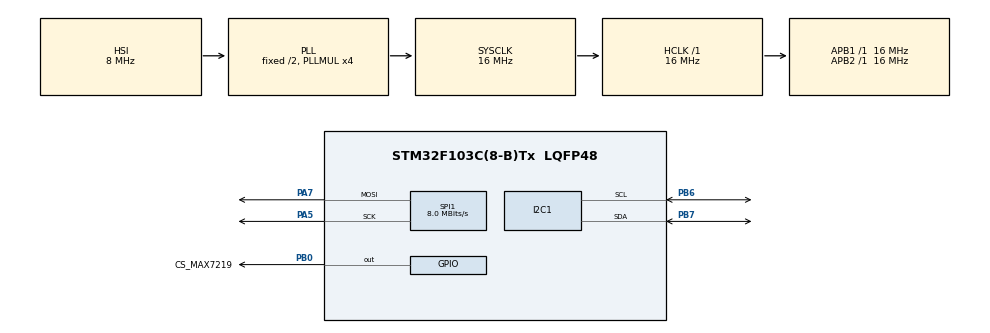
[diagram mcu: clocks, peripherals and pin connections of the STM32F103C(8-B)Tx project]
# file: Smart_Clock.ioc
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Mcu.Family=STM32F1
Mcu.Name=STM32F103C(8-B)Tx
Mcu.Package=LQFP48
NVIC.PriorityGroup=NVIC_PRIORITYGROUP_4
PA13.Mode=Serial_Wire
PA13.Signal=SYS_JTMS-SWDIO
PA14.Mode=Serial_Wire
PA14.Signal=SYS_JTCK-SWCLK
PA5.Mode=TX_Only_Simplex_Unidirect_Master
PA5.Signal=SPI1_SCK
PA7.Mode=TX_Only_Simplex_Unidirect_Master
PA7.Signal=SPI1_MOSI
PB0.GPIO_Label=CS_MAX7219
PB0.Signal=GPIO_Output
PB6.Mode=I2C
PB6.Signal=I2C1_SCL
PB7.Mode=I2C
PB7.Signal=I2C1_SDA
PD0-OSC_IN.Mode=HSE-External-Oscillator
PD0-OSC_IN.Signal=RCC_OSC_IN
PD1-OSC_OUT.Mode=HSE-External-Oscillator
PD1-OSC_OUT.Signal=RCC_OSC_OUT
ProjectManager.HeapSize=0x200
ProjectManager.StackSize=0x400
ProjectManager.TargetToolchain=MDK-ARM V5.32
RCC.AHBFreq_Value=16000000
RCC.APB1Freq_Value=16000000
RCC.APB1TimFreq_Value=16000000
RCC.APB2Freq_Value=16000000
RCC.APB2TimFreq_Value=16000000
RCC.HCLKFreq_Value=16000000
RCC.PLLMUL=RCC_PLL_MUL4
RCC.SYSCLKFreq_VALUE=16000000
RCC.SYSCLKSource=RCC_SYSCLKSOURCE_PLLCLK
RCC.USBFreq_Value=16000000
SPI1.BaudRatePrescaler=SPI_BAUDRATEPRESCALER_2
SPI1.CalculateBaudRate=8.0 MBits/s
SPI1.DataSize=SPI_DATASIZE_8BIT
SPI1.Direction=SPI_DIRECTION_2LINES
SPI1.Mode=SPI_MODE_MASTER
SPI1.VirtualType=VM_MASTER
board=custom

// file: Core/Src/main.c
/* USER CODE BEGIN Header */
/**
  ******************************************************************************
  * @file           : main.c
  * @brief          : Main program body
  ******************************************************************************
  * @attention
  *
  * Copyright (c) 2024 STMicroelectronics.
  * All rights reserved.
  *
  * This software is licensed under terms that can be found in the LICENSE file
  * in the root directory of this software component.
  * If no LICENSE file comes with this software, it is provided AS-IS.
  *
  ******************************************************************************
  */
/* USER CODE END Header */
#include "main.h"
#include "max7219.h"
#include "ds3231_for_stm32_hal.h"
#include "stdio.h"

I2C_HandleTypeDef hi2c1;

SPI_HandleTypeDef hspi1;

void SystemClock_Config(void);
static void MX_GPIO_Init(void);
static void MX_I2C1_Init(void);
static void MX_SPI1_Init(void);

/* USER CODE BEGIN 0 */
//void printr(uint8_t reg) {
//	printf("Reg 0x%02x = ", reg);
//	uint8_t val;
//	HAL_I2C_Master_Transmit(_ds3231_ui2c, DS3231_I2C_ADDR << 1, &reg, 1,
//			DS3231_TIMEOUT);
//	HAL_StatusTypeDef s = HAL_I2C_Master_Receive(_ds3231_ui2c,
//			DS3231_I2C_ADDR << 1, &val, 1, DS3231_TIMEOUT);
//	for (int i = 0; i < 8; i++) {
//		printf("%d", (val >> (7 - i)) & 1);
//	}
//	printf(" With status %d", s);
//	printf("\n");
//}
/* USER CODE END 0 */

int main(void)
{

  /* MCU Configuration--------------------------------------------------------*/

  /* Reset of all peripherals, Initializes the Flash interface and the Systick. */
  HAL_Init();

  /* Configure the system clock */
  SystemClock_Config();

  /* Initialize all configured peripherals */
  MX_GPIO_Init();
  MX_I2C1_Init();
  MX_SPI1_Init();
  /* USER CODE BEGIN 2 */

	max7219_Init(7);
  max7219_Decode_On();
		//DS3231 init function. Pass I2C handle.
	DS3231_Init(&hi2c1);
//	//Disable interrupts while we set interrupt configs.
//	__disable_irq();
//	//Set interrupt mode to square wave mode, enable square wave interrupt at pin 3.
//	DS3231_SetInterruptMode(DS3231_SQUARE_WAVE_INTERRUPT);
//	//Set interrupting frequency to 1 Hz.
//	DS3231_SetRateSelect(DS3231_1HZ);
	//Set time.
//	DS3231_SetFullTime(15, 49, 30);
	//Set date.
//	DS3231_SetFullDate(28, 7, 8, 2024);
	//Print all register values, for demonstration purpose

	//Enable interrupts after finishing.
//	__enable_irq();
  /* USER CODE END 2 */

  /* Infinite loop */
  while (1)
  {

    /* USER CODE BEGIN 3 */
	 max7219_Clean();
	 max7219_PrintNtos(DIGIT_5, DS3231_GetTemperatureFraction(), 2);
	 max7219_PrintNtos(DIGIT_8, DS3231_GetTemperatureInteger(), 2);
   HAL_Delay(2000);
	 max7219_Clean();
	 max7219_PrintNtos(DIGIT_5, DS3231_GetMinute(), 2);
	 max7219_PrintNtos(DIGIT_8, DS3231_GetHour(), 2);
		max7219_PrintNtos(DIGIT_2, DS3231_GetSecond(), 2);
   HAL_Delay(2000);
		max7219_Clean();
	 max7219_PrintNtos(DIGIT_5, DS3231_GetMonth(), 2);
	 max7219_PrintNtos(DIGIT_8, DS3231_GetDate(), 2);
		max7219_PrintNtos(DIGIT_2, DS3231_GetYear(), 2);
   HAL_Delay(2000);
  }
  /* USER CODE END 3 */
}

void SystemClock_Config(void)
{
  RCC_OscInitTypeDef RCC_OscInitStruct = {0};
  RCC_ClkInitTypeDef RCC_ClkInitStruct = {0};

  /** Initializes the RCC Oscillators according to the specified parameters
  * in the RCC_OscInitTypeDef structure.
  */
  RCC_OscInitStruct.OscillatorType = RCC_OSCILLATORTYPE_HSI;
  RCC_OscInitStruct.HSIState = RCC_HSI_ON;
  RCC_OscInitStruct.HSICalibrationValue = RCC_HSICALIBRATION_DEFAULT;
  RCC_OscInitStruct.PLL.PLLState = RCC_PLL_ON;
  RCC_OscInitStruct.PLL.PLLSource = RCC_PLLSOURCE_HSI_DIV2;
  RCC_OscInitStruct.PLL.PLLMUL = RCC_PLL_MUL4;
  if (HAL_RCC_OscConfig(&RCC_OscInitStruct) != HAL_OK)
  {
    Error_Handler();
  }

  /** Initializes the CPU, AHB and APB buses clocks
  */
  RCC_ClkInitStruct.ClockType = RCC_CLOCKTYPE_HCLK|RCC_CLOCKTYPE_SYSCLK
                              |RCC_CLOCKTYPE_PCLK1|RCC_CLOCKTYPE_PCLK2;
  RCC_ClkInitStruct.SYSCLKSource = RCC_SYSCLKSOURCE_PLLCLK;
  RCC_ClkInitStruct.AHBCLKDivider = RCC_SYSCLK_DIV1;
  RCC_ClkInitStruct.APB1CLKDivider = RCC_HCLK_DIV1;
  RCC_ClkInitStruct.APB2CLKDivider = RCC_HCLK_DIV1;

  if (HAL_RCC_ClockConfig(&RCC_ClkInitStruct, FLASH_LATENCY_0) != HAL_OK)
  {
    Error_Handler();
  }
}

static void MX_I2C1_Init(void)
{

  hi2c1.Instance = I2C1;
  hi2c1.Init.ClockSpeed = 100000;
  hi2c1.Init.DutyCycle = I2C_DUTYCYCLE_2;
  hi2c1.Init.OwnAddress1 = 0;
  hi2c1.Init.AddressingMode = I2C_ADDRESSINGMODE_7BIT;
  hi2c1.Init.DualAddressMode = I2C_DUALADDRESS_DISABLE;
  hi2c1.Init.OwnAddress2 = 0;
  hi2c1.Init.GeneralCallMode = I2C_GENERALCALL_DISABLE;
  hi2c1.Init.NoStretchMode = I2C_NOSTRETCH_DISABLE;
  if (HAL_I2C_Init(&hi2c1) != HAL_OK)
  {
    Error_Handler();
  }

}

static void MX_SPI1_Init(void)
{

  /* SPI1 parameter configuration*/
  hspi1.Instance = SPI1;
  hspi1.Init.Mode = SPI_MODE_MASTER;
  hspi1.Init.Direction = SPI_DIRECTION_2LINES;
  hspi1.Init.DataSize = SPI_DATASIZE_8BIT;
  hspi1.Init.CLKPolarity = SPI_POLARITY_LOW;
  hspi1.Init.CLKPhase = SPI_PHASE_1EDGE;
  hspi1.Init.NSS = SPI_NSS_SOFT;
  hspi1.Init.BaudRatePrescaler = SPI_BAUDRATEPRESCALER_2;
  hspi1.Init.FirstBit = SPI_FIRSTBIT_MSB;
  hspi1.Init.TIMode = SPI_TIMODE_DISABLE;
  hspi1.Init.CRCCalculation = SPI_CRCCALCULATION_DISABLE;
  hspi1.Init.CRCPolynomial = 10;
  if (HAL_SPI_Init(&hspi1) != HAL_OK)
  {
    Error_Handler();
  }

}

static void MX_GPIO_Init(void)
{
  GPIO_InitTypeDef GPIO_InitStruct = {0};

  /* GPIO Ports Clock Enable */
  __HAL_RCC_GPIOD_CLK_ENABLE();
  __HAL_RCC_GPIOA_CLK_ENABLE();
  __HAL_RCC_GPIOB_CLK_ENABLE();

  /*Configure GPIO pin Output Level */
  HAL_GPIO_WritePin(CS_MAX7219_GPIO_Port, CS_MAX7219_Pin, GPIO_PIN_RESET);

  /*Configure GPIO pin : CS_MAX7219_Pin */
  GPIO_InitStruct.Pin = CS_MAX7219_Pin;
  GPIO_InitStruct.Mode = GPIO_MODE_OUTPUT_PP;
  GPIO_InitStruct.Pull = GPIO_NOPULL;
  GPIO_InitStruct.Speed = GPIO_SPEED_FREQ_LOW;
  HAL_GPIO_Init(CS_MAX7219_GPIO_Port, &GPIO_InitStruct);

}

void Error_Handler(void)
{
  __disable_irq();
  while (1)
  {
  }
}
